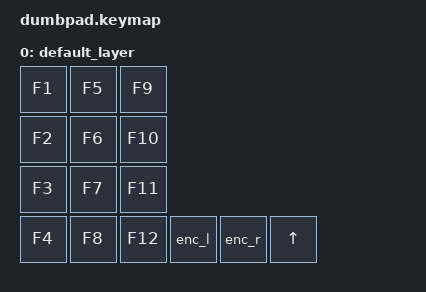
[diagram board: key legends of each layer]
/*
 * Copyright (c) 2020 The ZMK Contributors
 *
 * SPDX-License-Identifier: MIT
 */

#include <behaviors.dtsi>
#include <dt-bindings/zmk/keys.h>
#include <dt-bindings/zmk/bt.h>

/ {
    keymap {
        compatible = "zmk,keymap";

        default_layer {
            bindings = <
                &kp F1   &kp F5   &kp F9
                &kp F2   &kp F6   &kp F10
                &kp F3   &kp F7   &kp F11
                &kp F4   &kp F8   &kp F12  &enc_l  &enc_r  &kp UP
            >;  // 4x4: top 3 rows F-keys, bottom: F4/F8/F12 | left enc | right enc | up (adjust cols if needed)
        };

        // Sensor bindings for encoders (add to shield or keymap-sensors if not present)
        sensor_bindings {
            compatible = "zmk,keymap-sensors";
            encoder_left: encoder_left {
                sensor-bindings = < &kp C_VOL_UP  &kp C_VOL_DN >;
            };
            encoder_right: encoder_right {
                sensor-bindings = < &kp C_MPRV  &kp C_MNXT >;
            };
        };

        // Behaviors for encoder presses (hold-tap style for push)
        behaviors {
            enc_vol: enc_vol {
                compatible = "zmk,behavior-hold-tap";
                #binding-cells = <0>;
                tapping-term-ms = <200>;
                hold-preferred;
                tapping-toggles-layer;
                hold-trigger-key-positions;
                hold = < &kp MUTE >;
                tap = < &trans >;  // Transparent tap for underlying key if needed
            };
            enc_play: enc_play {
                compatible = "zmk,behavior-hold-tap";
                #binding-cells = <0>;
                tapping-term-ms = <200>;
                hold-preferred;
                tapping-toggles-layer;
                hold-trigger-key-positions;
                hold = < &kp MPLY >;
                tap = < &trans >;
            };
        };
    };
};

